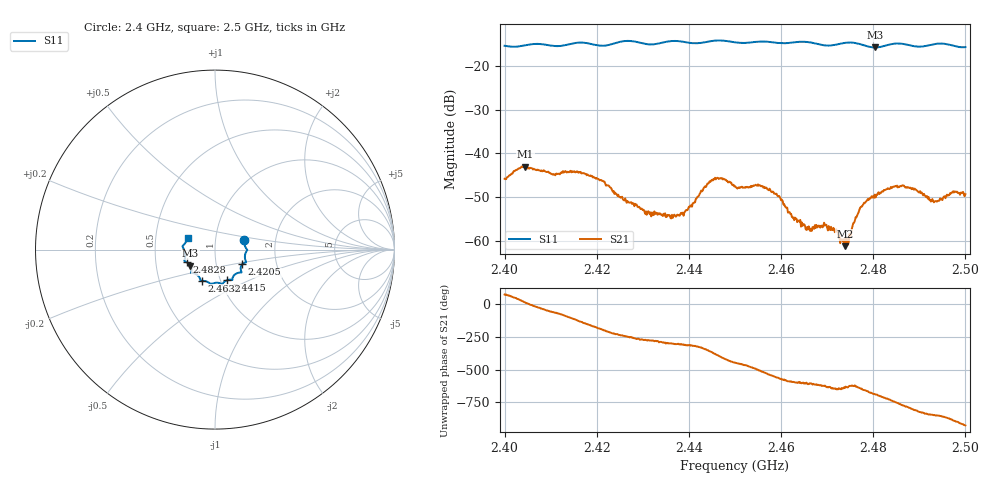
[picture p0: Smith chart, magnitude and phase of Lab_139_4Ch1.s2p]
# Hz S RI R 50
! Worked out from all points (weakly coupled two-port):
!   601 points, 2.4 GHz to 2.5 GHz, reference 50 ohm
!   highest |S21| = -43.02 dB at 2.4045 GHz (marker M1); lowest = -61.3 dB at 2.4738 GHz (marker M2)
!   lowest |S11| = -15.7 dB at 2.4803 GHz (marker M3), VSWR 1.39, Z = 37.4 - j6.84 ohm
!   |S11| at or under -10 dB: start of sweep to end of sweep
!   S12 and S22 are empty: the file has one direction only
!   S11 on the Smith chart (normalised r, x): 2.4 GHz: 1.38, +0.15; 2.4205 GHz: 1.34, -0.22; 2.4415 GHz: 1.07, -0.38; 2.4632 GHz: 0.82, -0.29; 2.4828 GHz: 0.72, -0.10; 2.5 GHz: 0.73, +0.10
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2.4e9  0.1634 0.0517  0.00141 0.00491  0 0  0 0
2.4045e9  0.1735 0.00686  0.00687 0.00161  0 0  0 0
2.416667e9  0.173 -0.07  -0.00418 -0.00416  0 0  0 0
2.4205e9  0.1519 -0.0816  -0.00499 0.000392  0 0  0 0
2.433333e9  0.1001 -0.1516  0.000464 0.002  0 0  0 0
2.438333e9  0.0921 -0.1683  0.0012 0.00171  0 0  0 0
2.4415e9  0.0659 -0.1707  0.00235 0.00188  0 0  0 0
2.445833e9  0.0413 -0.1924  0.0046 -0.00205  0 0  0 0
2.45e9  0.0242 -0.1863  0.000253 -0.0042  0 0  0 0
2.457167e9  -0.0271 -0.1885  -0.00383 -0.000246  0 0  0 0
2.463167e9  -0.0731 -0.1739  -0.000898 0.00152  0 0  0 0
2.466667e9  -0.0821 -0.1668  -0.000475 0.0012  0 0  0 0
2.469833e9  -0.0976 -0.1424  4.81e-05 0.00151  0 0  0 0
2.473833e9  -0.1313 -0.1303  0.000173 0.000845  0 0  0 0
2.474833e9  -0.134 -0.1303  -0.000112 0.00118  0 0  0 0
2.4775e9  -0.1312 -0.1185  0.000674 0.00235  0 0  0 0
2.480333e9  -0.1376 -0.089  0.00284 0.0018  0 0  0 0
2.482833e9  -0.1584 -0.0702  0.00386 -0.000143  0 0  0 0
2.483333e9  -0.1623 -0.0683  0.00388 -0.000556  0 0  0 0
2.4885e9  -0.166 -0.0413  0.000477 -0.00396  0 0  0 0
2.4935e9  -0.1793 0.0128  -0.00187 -0.00214  0 0  0 0
2.5e9  -0.1526 0.0643  -0.00302 0.00157  0 0  0 0
